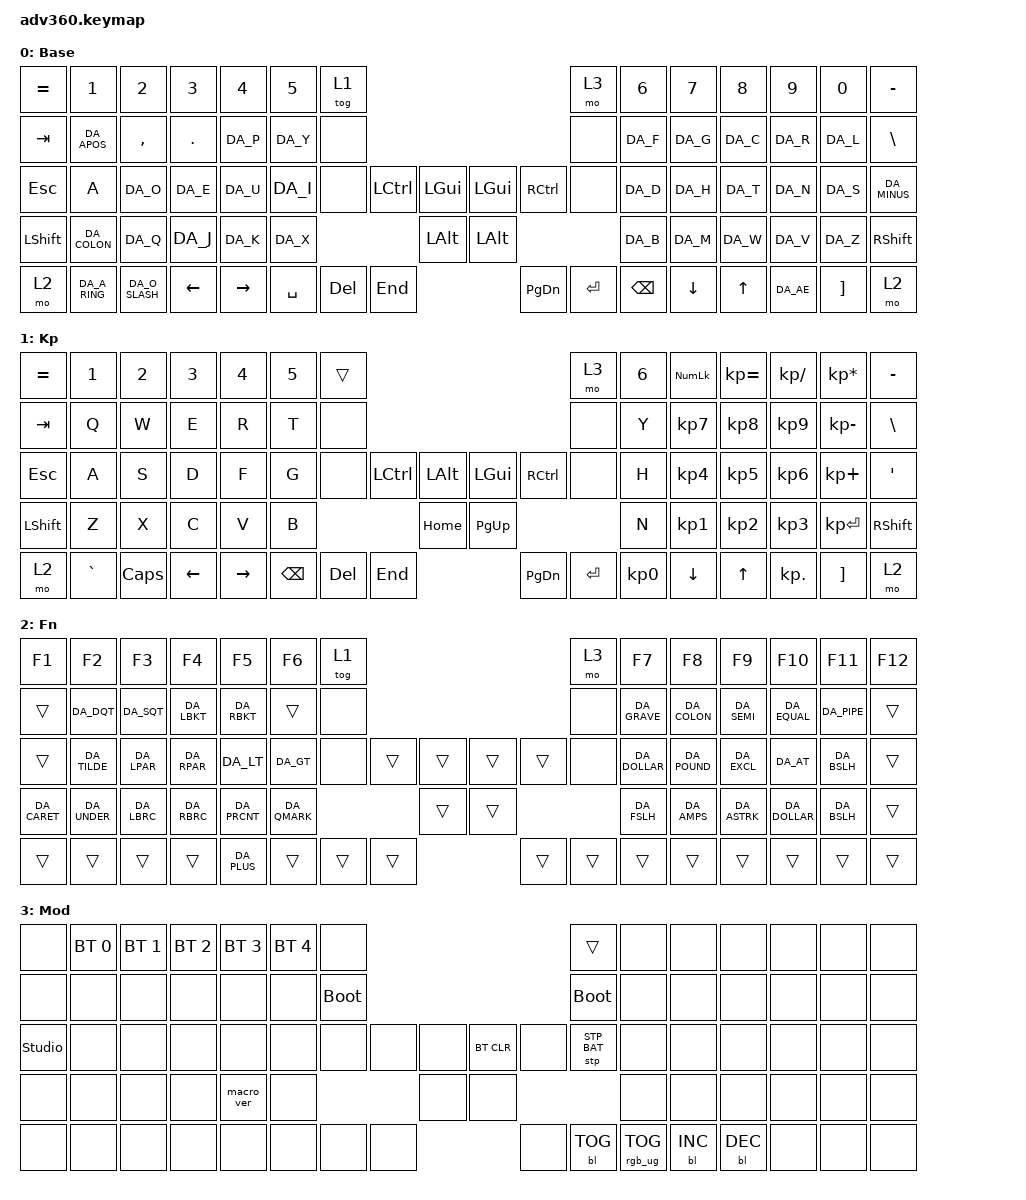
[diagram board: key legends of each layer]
#include <behaviors.dtsi>
#include <dt-bindings/zmk/keys.h>
#include <dt-bindings/zmk/bt.h>
#include <dt-bindings/zmk/rgb.h>
#include <dt-bindings/zmk/stp.h>
#include <dt-bindings/zmk/backlight.h>
#include <dt-bindings/zmk/pointing.h>
#include <locale/keys_da.h>

/ {
    behaviors {
      #include "macros.dtsi"
      #include "version.dtsi"

      hm: homerow_mods {
          compatible = "zmk,behavior-hold-tap";
          label = "HOMEROW_MODS";
          #binding-cells = <2>;
          tapping-term-ms = <200>;
          quick_tap_ms = <175>;
          flavor = "tap-preferred";
          bindings = <&kp>, <&kp>;
      };
    };

  keymap {
    compatible = "zmk,keymap";

  default_layer {
      display-name = "Base";
      bindings = <
        &kp EQUAL &kp N1        &kp N2         &kp N3   &kp N4    &kp N5    &tog 1                                                          &mo 3 &kp N6   &kp N7   &kp N8   &kp N9    &kp N0   &kp MINUS
        &kp TAB   &kp DA_APOS   &kp COMMA      &kp DOT  &kp DA_P  &kp DA_Y  &none                                                           &none &kp DA_F &kp DA_G &kp DA_C &kp DA_R  &kp DA_L &kp BSLH
        &kp ESC   &kp A         &kp DA_O       &kp DA_E &kp DA_U  &kp DA_I  &none           &kp LCTRL &kp LGUI &kp LGUI  &kp RCTRL          &none &kp DA_D &kp DA_H &kp DA_T &kp DA_N  &kp DA_S &kp DA_MINUS
        &kp LSHFT &kp DA_COLON  &kp DA_Q       &kp DA_J &kp DA_K  &kp DA_X                            &kp LALT &kp LALT                           &kp DA_B &kp DA_M &kp DA_W &kp DA_V  &kp DA_Z &kp RSHFT
        &mo 2     &kp DA_A_RING &kp DA_O_SLASH &kp LEFT &kp RIGHT                 &kp SPACE &kp DEL   &kp END  &kp PG_DN &kp ENTER &kp BSPC                &kp DOWN &kp UP   &kp DA_AE &kp RBKT &mo 2
      >;
    };
    keypad {
      display-name = "Kp";
      bindings = <
        &kp EQUAL &kp N1    &kp N2   &kp N3   &kp N4     &kp N5 &trans                                                           &mo 3 &kp N6 &kp KP_NUM &kp KP_EQUAL &kp KP_DIVIDE &kp KP_MULTIPLY &kp MINUS
        &kp TAB   &kp Q     &kp W    &kp E    &kp R      &kp T  &none                                                            &none &kp Y  &kp KP_N7  &kp KP_N8    &kp KP_N9     &kp KP_MINUS    &kp BSLH
        &kp ESC   &kp A     &kp S    &kp D    &kp F      &kp G  &none           &kp LCTRL &kp LALT &kp LGUI  &kp RCTRL           &none &kp H  &kp KP_N4  &kp KP_N5    &kp KP_N6     &kp KP_PLUS     &kp SQT
        &kp LSHFT &kp Z     &kp X    &kp C    &kp V      &kp B                            &kp HOME &kp PG_UP                           &kp N  &kp KP_N1  &kp KP_N2    &kp KP_N3     &kp KP_ENTER    &kp RSHFT
        &mo 2     &kp GRAVE &kp CAPS &kp LEFT &kp RIGHT                &kp BSPC &kp DEL   &kp END  &kp PG_DN &kp ENTER &kp KP_N0              &kp DOWN   &kp UP       &kp KP_DOT    &kp RBKT        &mo 2
      >;
    };
    fn {
      display-name = "Fn";
      bindings = <
        &kp F1       &kp F2       &kp F3      &kp F4      &kp F5       &kp F6    &tog 1                                                     &mo 3 &kp F7        &kp F8           &kp F9              &kp F10       &kp F11     &kp F12
        &trans       &kp DA_DQT   &kp DA_SQT  &kp DA_LBKT &kp DA_RBKT  &trans    &none                                                      &none &kp DA_GRAVE  &kp DA_COLON     &kp DA_SEMI         &kp DA_EQUAL  &kp DA_PIPE &trans
        &trans       &kp DA_TILDE &kp DA_LPAR &kp DA_RPAR &kp DA_LT    &kp DA_GT &none                     &trans &trans &trans &trans      &none &kp DA_DOLLAR &kp DA_POUND     &kp DA_EXCL         &kp DA_AT     &kp DA_BSLH &trans
        &kp DA_CARET &kp DA_UNDER &kp DA_LBRC &kp DA_RBRC &kp DA_PRCNT &kp DA_QMARK                               &trans &trans                   &kp DA_FSLH   &kp DA_AMPS      &kp DA_ASTRK        &kp DA_DOLLAR &kp DA_BSLH &trans
        &trans       &trans       &trans      &trans      &kp DA_PLUS                               &trans &trans &trans &trans &trans &trans                   &trans           &trans              &trans        &trans      &trans
      >;
    };
    mod {
      display-name = "Mod";
      bindings = <
        &none &bt BT_SEL 0 &bt BT_SEL 1 &bt BT_SEL 2 &bt BT_SEL 3 &bt BT_SEL 4 &none                                                                     &trans                 &none        &none        &none        &none &none &none
        &none &none        &none        &none        &none        &none        &bootloader                                                               &bootloader            &none        &none        &none        &none &none &none
        &studio_unlock &none        &none        &none        &none        &none        &none                   &none &none &bt BT_CLR &none                      &stp STP_BAT &none        &none        &none        &none &none &none
        &none &none        &none        &none        &macro_ver   &none                                      &none &none                                                        &none        &none        &none        &none &none &none
        &none &none        &none        &none        &none                                       &none &none &none &none      &bl BL_TOG &rgb_ug RGB_TOG                                     &bl BL_INC   &bl BL_DEC   &none &none &none
      >;
    };
    extra1 { 
      display-name = "Red";    
      status = "reserved";
    };

    extra2 { 
      display-name = "Purple";    
      status = "reserved";
    };

    extra3 { 
      display-name = "Cyan";    
      status = "reserved";
    };

    extra4 { 
      display-name = "Yellow";    
      status = "reserved";
    };
  };
};
